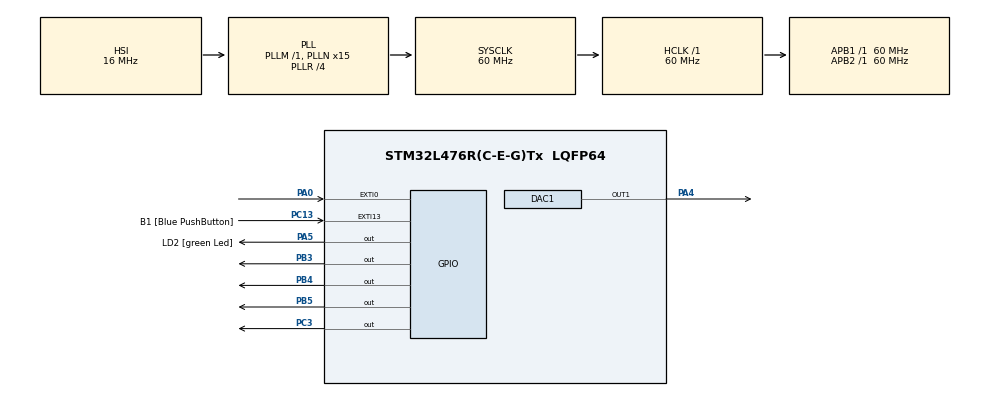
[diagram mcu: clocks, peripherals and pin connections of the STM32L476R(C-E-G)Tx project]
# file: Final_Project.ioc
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DAC1.DAC_Trigger-DAC_OUT1=DAC_TRIGGER_T6_TRGO
Dma.DAC_CH1.0.Direction=DMA_MEMORY_TO_PERIPH
Dma.DAC_CH1.0.Instance=DMA1_Channel3
Dma.DAC_CH1.0.MemDataAlignment=DMA_MDATAALIGN_BYTE
Dma.DAC_CH1.0.MemInc=DMA_MINC_ENABLE
Dma.DAC_CH1.0.Mode=DMA_NORMAL
Dma.DAC_CH1.0.PeriphDataAlignment=DMA_PDATAALIGN_BYTE
Dma.DAC_CH1.0.PeriphInc=DMA_PINC_DISABLE
Dma.DAC_CH1.0.Priority=DMA_PRIORITY_LOW
Dma.Request0=DAC_CH1
Mcu.Family=STM32L4
Mcu.Name=STM32L476R(C-E-G)Tx
Mcu.Package=LQFP64
NVIC.DMA1_Channel3_IRQn=true\:0\:0\:false\:false\:true\:false
NVIC.EXTI0_IRQn=true\:0\:0\:false\:false\:true\:true
NVIC.EXTI15_10_IRQn=true\:0\:0\:false\:false\:true\:true
NVIC.PriorityGroup=NVIC_PRIORITYGROUP_4
NVIC.TIM3_IRQn=true\:0\:0\:false\:false\:true\:true
PA0.GPIO_ModeDefaultEXTI=GPIO_MODE_IT_FALLING
PA0.Signal=GPXTI0
PA13\ (JTMS-SWDIO).GPIO_Label=TMS
PA13\ (JTMS-SWDIO).Mode=Serial_Wire
PA13\ (JTMS-SWDIO).Signal=SYS_JTMS-SWDIO
PA14\ (JTCK-SWCLK).GPIO_Label=TCK
PA14\ (JTCK-SWCLK).Mode=Serial_Wire
PA14\ (JTCK-SWCLK).Signal=SYS_JTCK-SWCLK
PA4.Signal=COMP_DAC11_group
PA5.GPIO_Label=LD2 [green Led]
PA5.GPIO_ModeDefaultOutputPP=GPIO_MODE_OUTPUT_PP
PA5.GPIO_PuPd=GPIO_NOPULL
PA5.GPIO_Speed=GPIO_SPEED_FREQ_LOW
PA5.Signal=GPIO_Output
PB3\ (JTDO-TRACESWO).Signal=GPIO_Output
PB4\ (NJTRST).Signal=GPIO_Output
PB5.Signal=GPIO_Output
PC13.GPIO_Label=B1 [Blue PushButton]
PC13.GPIO_ModeDefaultEXTI=GPIO_MODE_IT_FALLING
PC13.GPIO_PuPd=GPIO_NOPULL
PC13.Signal=GPXTI13
PC14-OSC32_IN\ (PC14).Mode=LSE-External-Oscillator
PC14-OSC32_IN\ (PC14).Signal=RCC_OSC32_IN
PC15-OSC32_OUT\ (PC15).Mode=LSE-External-Oscillator
PC15-OSC32_OUT\ (PC15).Signal=RCC_OSC32_OUT
PC3.Signal=GPIO_Output
PH0-OSC_IN\ (PH0).Signal=RCC_OSC_IN
PH1-OSC_OUT\ (PH1).Signal=RCC_OSC_OUT
ProjectManager.HeapSize=0x200
ProjectManager.StackSize=0x400
ProjectManager.TargetToolchain=SW4STM32
RCC.ADCFreq_Value=64000000
RCC.AHBFreq_Value=60000000
RCC.APB1Freq_Value=60000000
RCC.APB1TimFreq_Value=60000000
RCC.APB2Freq_Value=60000000
RCC.APB2TimFreq_Value=60000000
RCC.CortexFreq_Value=60000000
RCC.HCLKFreq_Value=60000000
RCC.HSE_VALUE=8000000
RCC.HSI_VALUE=16000000
RCC.MSI_VALUE=4000000
RCC.PLLN=15
RCC.PLLR=RCC_PLLR_DIV4
RCC.PLLSourceVirtual=RCC_PLLSOURCE_HSI
RCC.PREFETCH_ENABLE=1
RCC.SYSCLKFreq_VALUE=60000000
RCC.SYSCLKSource=RCC_SYSCLKSOURCE_PLLCLK
RCC.USBFreq_Value=64000000
RCC.VCOOutputFreq_Value=240000000
SH.COMP_DAC11_group.0=DAC1_OUT1,DAC_OUT1
TIM3.Period=999
TIM3.Prescaler=59999
TIM6.AutoReloadPreload=TIM_AUTORELOAD_PRELOAD_ENABLE
TIM6.Period=3749
TIM6.TIM_MasterOutputTrigger=TIM_TRGO_UPDATE
VP_TIM3_VS_ClockSourceINT.Mode=Internal
VP_TIM6_VS_ClockSourceINT.Mode=Enable_Timer
board=NUCLEO-L476RG

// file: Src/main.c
/**
  ******************************************************************************
  * @file           : main.c
  * @brief          : Main program body
  ******************************************************************************
  ** This notice applies to any and all portions of this file
  * that are not between comment pairs USER CODE BEGIN and
  * USER CODE END. Other portions of this file, whether
  * inserted by the user or by software development tools
  * are owned by their respective copyright owners.
  *
  * COPYRIGHT(c) 2019 STMicroelectronics
  *
  * Redistribution and use in source and binary forms, with or without modification,
  * are permitted provided that the following conditions are met:
  *   1. Redistributions of source code must retain the above copyright notice,
  *      this list of conditions and the following disclaimer.
  *   2. Redistributions in binary form must reproduce the above copyright notice,
  *      this list of conditions and the following disclaimer in the documentation
  *      and/or other materials provided with the distribution.
  *   3. Neither the name of STMicroelectronics nor the names of its contributors
  *      may be used to endorse or promote products derived from this software
  *      without specific prior written permission.
  *
  * THIS SOFTWARE IS PROVIDED BY THE COPYRIGHT HOLDERS AND CONTRIBUTORS "AS IS"
  * AND ANY EXPRESS OR IMPLIED WARRANTIES, INCLUDING, BUT NOT LIMITED TO, THE
  * IMPLIED WARRANTIES OF MERCHANTABILITY AND FITNESS FOR A PARTICULAR PURPOSE ARE
  * DISCLAIMED. IN NO EVENT SHALL THE COPYRIGHT HOLDER OR CONTRIBUTORS BE LIABLE
  * FOR ANY DIRECT, INDIRECT, INCIDENTAL, SPECIAL, EXEMPLARY, OR CONSEQUENTIAL
  * DAMAGES (INCLUDING, BUT NOT LIMITED TO, PROCUREMENT OF SUBSTITUTE GOODS OR
  * SERVICES; LOSS OF USE, DATA, OR PROFITS; OR BUSINESS INTERRUPTION) HOWEVER
  * CAUSED AND ON ANY THEORY OF LIABILITY, WHETHER IN CONTRACT, STRICT LIABILITY,
  * OR TORT (INCLUDING NEGLIGENCE OR OTHERWISE) ARISING IN ANY WAY OUT OF THE USE
  * OF THIS SOFTWARE, EVEN IF ADVISED OF THE POSSIBILITY OF SUCH DAMAGE.
  *
  ******************************************************************************
  */
#include "main.h"
#include "stm32l4xx_hal.h"

/* USER CODE BEGIN Includes */
#include "recording_3score.h"
#include "recording_2score.h"
#include "pac_man.h"
#include "count_down.h"
#include "gameover.h"
#include <stdint.h>
/* USER CODE END Includes */

DAC_HandleTypeDef hdac1;
DMA_HandleTypeDef hdma_dac_ch1;

TIM_HandleTypeDef htim3;
TIM_HandleTypeDef htim6;

/* USER CODE BEGIN PV */
/* Private variables ---------------------------------------------------------*/

/* USER CODE END PV */

void SystemClock_Config(void);
static void MX_GPIO_Init(void);
static void MX_DMA_Init(void);
static void MX_TIM6_Init(void);
static void MX_DAC1_Init(void);
static void MX_TIM3_Init(void);

/* USER CODE BEGIN PFP */
/* Private function prototypes -----------------------------------------------*/

/* USER CODE END PFP */

/* USER CODE BEGIN 0 */
extern void max7219_init();
extern void MAX7219Send(unsigned char address, unsigned char data);
#define SCAN_LIMIT	0x0B

#define DIGIT_0	1
#define DIGIT_1 2
#define DIGIT_2	3
#define DIGIT_3	4
#define DIGIT_4	5
#define DIGIT_5	6
#define DIGIT_6	7
#define DIGIT_7	8

int nScore = 0, nRemain_Time = 60;
int nMax_score = 0;
int nStart_Flag = 0;
int update_flag_time = 0, update_flag_score = 0;
int nDelay_Count_Down = 0;
int nDAC_End_Flag = 0;
//
int nRemain_Time_Array;
int nTime_Array[5] = {60, 50, 40, 40, 30};
int nLevel_Score[5] = {50, 150, 250, 400, 550};

void HAL_TIM_PeriodElapsedCallback(TIM_HandleTypeDef *htim)
{
	if (htim->Instance == TIM3) {
		nRemain_Time--;
		update_flag_time = 1;
		nDelay_Count_Down = 0;
	}
}

void HAL_GPIO_EXTI_Callback(uint16_t GPIO_Pin)
{
  if (GPIO_Pin == GPIO_PIN_13)
  {
	  nStart_Flag = 1;
	  //HAL_DAC_Stop_DMA(&hdac1, DAC_CHANNEL_1);
  }
  else if (GPIO_Pin == GPIO_PIN_0)
  {
	  if (nStart_Flag == 1) {
		  if (nRemain_Time > 15) {
			  nScore += 2;
			  HAL_DAC_Start_DMA(&hdac1, DAC_CHANNEL_1, (uint32_t *)score_2_data, NUM_ELEMENTS_2_SCORE, DAC_ALIGN_8B_R);
		  }
		  else {
			  nScore += 3;
			  HAL_DAC_Start_DMA(&hdac1, DAC_CHANNEL_1, (uint32_t *)score_3_data, NUM_ELEMENTS_3_SCORE, DAC_ALIGN_8B_R);
		  }
		  update_flag_score = 1;
	  }
  }
}
void HAL_DAC_ConvCpltCallbackCh1(DAC_HandleTypeDef* hdac)
{
	if (hdac->Instance == DAC) {
		nDAC_End_Flag = 1;
	}
}
void Delay()
{
	while(nDelay_Count_Down > 0);
}
/* USER CODE END 0 */

int main(void)
{

  /* MCU Configuration----------------------------------------------------------*/

  /* Reset of all peripherals, Initializes the Flash interface and the Systick. */
  HAL_Init();

  /* Configure the system clock */
  SystemClock_Config();

  /* Initialize all configured peripherals */
  MX_GPIO_Init();
  MX_DMA_Init();
  MX_TIM6_Init();
  MX_DAC1_Init();
  MX_TIM3_Init();
  /* USER CODE BEGIN 2 */
  HAL_TIM_Base_Start(&htim6);
  HAL_TIM_Base_Start(&htim3);
  HAL_DAC_Start(&hdac1, DAC_CHANNEL_1);
  max7219_init();
  int i;
  int nTmp;
  int nLevel = 0;
  for (i = 0; i < 8; i++) {
	  MAX7219Send(i + 1, 0);
  }
  MAX7219Send(SCAN_LIMIT, 7);
  /* USER CODE END 2 */

  /* Infinite loop */
  /* USER CODE BEGIN WHILE */
  while (1)
  {
	  //play the music
	  nDAC_End_Flag = 0;
	  HAL_DAC_Start_DMA(&hdac1, DAC_CHANNEL_1, (uint32_t *)pac_man_data_1, NUM_ELEMENTS_PAC_MAN_1, DAC_ALIGN_8B_R);
	  if (nStart_Flag == 0)
		  while (nDAC_End_Flag == 0);

	  nDAC_End_Flag = 0;
	  HAL_DAC_Start_DMA(&hdac1, DAC_CHANNEL_1, (uint32_t *)pac_man_data_2, NUM_ELEMENTS_PAC_MAN_2, DAC_ALIGN_8B_R);
	  if (nStart_Flag == 0)
		  while (nDAC_End_Flag == 0);
	  //
	  if (nStart_Flag == 0) {
  		  nScore = 0;
		  nLevel = 0;
	  }

	  if (nStart_Flag == 1)
	  {
		  //turn off the music first
		  HAL_DAC_Stop_DMA(&hdac1, DAC_CHANNEL_1);
		  //count down 3 sec
		  MAX7219Send(SCAN_LIMIT, 3);
		  MAX7219Send(DIGIT_3, 3);
		  HAL_DAC_Start_DMA(&hdac1, DAC_CHANNEL_1, (uint32_t *)count_down_data, NUM_ELEMENTS_COUNT_DOWN, DAC_ALIGN_8B_R);
		  HAL_TIM_Base_Start_IT(&htim3);
		  nDelay_Count_Down = 1;
		  Delay(1);
		  MAX7219Send(DIGIT_3, 2);
		  nDelay_Count_Down = 1;
		  Delay(1);
		  MAX7219Send(DIGIT_3, 1);
		  nDelay_Count_Down = 1;
		  Delay(1);
		  MAX7219Send(DIGIT_3, 0);
		  MAX7219Send(SCAN_LIMIT, 7);
		  //
		  update_flag_time = 1;
		  //initialize
		  nRemain_Time = nTime_Array[nLevel];
		  while (nRemain_Time >= 0) {
			  if (update_flag_time == 1) {
				  //digit3 ~ digit4 display Remain Time
				  MAX7219Send(DIGIT_4, nRemain_Time / 10);
				  MAX7219Send(DIGIT_3, nRemain_Time % 10);
			  }
			  if (update_flag_score == 1) {
				  //digit5 ~ digit7 display Score
				  nTmp = nScore;
				  MAX7219Send(DIGIT_5, nTmp % 10);
				  nTmp /= 10;
				  MAX7219Send(DIGIT_6, nTmp % 10);
				  nTmp /= 10;
				  MAX7219Send(DIGIT_7, nTmp % 10);
			  }
		  }
		  HAL_TIM_Base_Stop_IT(&htim3);
		  if ((nScore < nLevel_Score[nLevel]) | (nLevel == 4)) {
			  //clear the screen
			  for (i = 3; i < 8; i++) {
				  MAX7219Send(i + 1, 0);
			  }
			  //update max score
			  if (nScore > nMax_score){
				  nMax_score = nScore;
				  //digit0 ~ digit2 display Score
				  nTmp = nMax_score;
				  MAX7219Send(DIGIT_0, nTmp % 10);
				  nTmp /= 10;
				  MAX7219Send(DIGIT_1, nTmp % 10);
				  nTmp /= 10;
				  MAX7219Send(DIGIT_2, nTmp % 10);
			  }
			  nStart_Flag = 0;
			  //play gameover music
			  nScore = 0;
			  nDAC_End_Flag = 0;
			  HAL_DAC_Start_DMA(&hdac1, DAC_CHANNEL_1, (uint32_t *)game_over_1_data, NUM_ELEMENTS_GAME_OVER_1, DAC_ALIGN_8B_R);
			  while (nDAC_End_Flag == 0);
			  nDAC_End_Flag = 0;
			  HAL_DAC_Start_DMA(&hdac1, DAC_CHANNEL_1, (uint32_t *)game_over_2_data, NUM_ELEMENTS_GAME_OVER_2, DAC_ALIGN_8B_R);
			  while (nDAC_End_Flag == 0);
		  }
		  else {
			  nLevel++;
			  nRemain_Time = nTime_Array[nLevel];
		  }
	  }
  /* USER CODE END WHILE */

  }

}

void SystemClock_Config(void)
{

  RCC_OscInitTypeDef RCC_OscInitStruct;
  RCC_ClkInitTypeDef RCC_ClkInitStruct;

    /**Initializes the CPU, AHB and APB busses clocks
    */
  RCC_OscInitStruct.OscillatorType = RCC_OSCILLATORTYPE_HSI;
  RCC_OscInitStruct.HSIState = RCC_HSI_ON;
  RCC_OscInitStruct.HSICalibrationValue = 16;
  RCC_OscInitStruct.PLL.PLLState = RCC_PLL_ON;
  RCC_OscInitStruct.PLL.PLLSource = RCC_PLLSOURCE_HSI;
  RCC_OscInitStruct.PLL.PLLM = 1;
  RCC_OscInitStruct.PLL.PLLN = 15;
  RCC_OscInitStruct.PLL.PLLP = RCC_PLLP_DIV7;
  RCC_OscInitStruct.PLL.PLLQ = RCC_PLLQ_DIV2;
  RCC_OscInitStruct.PLL.PLLR = RCC_PLLR_DIV4;
  if (HAL_RCC_OscConfig(&RCC_OscInitStruct) != HAL_OK)
  {
    _Error_Handler(__FILE__, __LINE__);
  }

    /**Initializes the CPU, AHB and APB busses clocks
    */
  RCC_ClkInitStruct.ClockType = RCC_CLOCKTYPE_HCLK|RCC_CLOCKTYPE_SYSCLK
                              |RCC_CLOCKTYPE_PCLK1|RCC_CLOCKTYPE_PCLK2;
  RCC_ClkInitStruct.SYSCLKSource = RCC_SYSCLKSOURCE_PLLCLK;
  RCC_ClkInitStruct.AHBCLKDivider = RCC_SYSCLK_DIV1;
  RCC_ClkInitStruct.APB1CLKDivider = RCC_HCLK_DIV1;
  RCC_ClkInitStruct.APB2CLKDivider = RCC_HCLK_DIV1;

  if (HAL_RCC_ClockConfig(&RCC_ClkInitStruct, FLASH_LATENCY_3) != HAL_OK)
  {
    _Error_Handler(__FILE__, __LINE__);
  }

    /**Configure the main internal regulator output voltage
    */
  if (HAL_PWREx_ControlVoltageScaling(PWR_REGULATOR_VOLTAGE_SCALE1) != HAL_OK)
  {
    _Error_Handler(__FILE__, __LINE__);
  }

    /**Configure the Systick interrupt time
    */
  HAL_SYSTICK_Config(HAL_RCC_GetHCLKFreq()/1000);

    /**Configure the Systick
    */
  HAL_SYSTICK_CLKSourceConfig(SYSTICK_CLKSOURCE_HCLK);

  /* SysTick_IRQn interrupt configuration */
  HAL_NVIC_SetPriority(SysTick_IRQn, 0, 0);
}

/* DAC1 init function */
static void MX_DAC1_Init(void)
{

  DAC_ChannelConfTypeDef sConfig;

    /**DAC Initialization
    */
  hdac1.Instance = DAC1;
  if (HAL_DAC_Init(&hdac1) != HAL_OK)
  {
    _Error_Handler(__FILE__, __LINE__);
  }

    /**DAC channel OUT1 config
    */
  sConfig.DAC_SampleAndHold = DAC_SAMPLEANDHOLD_DISABLE;
  sConfig.DAC_Trigger = DAC_TRIGGER_T6_TRGO;
  sConfig.DAC_OutputBuffer = DAC_OUTPUTBUFFER_ENABLE;
  sConfig.DAC_ConnectOnChipPeripheral = DAC_CHIPCONNECT_DISABLE;
  sConfig.DAC_UserTrimming = DAC_TRIMMING_FACTORY;
  if (HAL_DAC_ConfigChannel(&hdac1, &sConfig, DAC_CHANNEL_1) != HAL_OK)
  {
    _Error_Handler(__FILE__, __LINE__);
  }

}

/* TIM3 init function */
static void MX_TIM3_Init(void)
{

  TIM_ClockConfigTypeDef sClockSourceConfig;
  TIM_MasterConfigTypeDef sMasterConfig;

  htim3.Instance = TIM3;
  htim3.Init.Prescaler = 59999;
  htim3.Init.CounterMode = TIM_COUNTERMODE_UP;
  htim3.Init.Period = 999;
  htim3.Init.ClockDivision = TIM_CLOCKDIVISION_DIV1;
  htim3.Init.AutoReloadPreload = TIM_AUTORELOAD_PRELOAD_DISABLE;
  if (HAL_TIM_Base_Init(&htim3) != HAL_OK)
  {
    _Error_Handler(__FILE__, __LINE__);
  }

  sClockSourceConfig.ClockSource = TIM_CLOCKSOURCE_INTERNAL;
  if (HAL_TIM_ConfigClockSource(&htim3, &sClockSourceConfig) != HAL_OK)
  {
    _Error_Handler(__FILE__, __LINE__);
  }

  sMasterConfig.MasterOutputTrigger = TIM_TRGO_RESET;
  sMasterConfig.MasterSlaveMode = TIM_MASTERSLAVEMODE_DISABLE;
  if (HAL_TIMEx_MasterConfigSynchronization(&htim3, &sMasterConfig) != HAL_OK)
  {
    _Error_Handler(__FILE__, __LINE__);
  }

}

/* TIM6 init function */
static void MX_TIM6_Init(void)
{

  TIM_MasterConfigTypeDef sMasterConfig;

  htim6.Instance = TIM6;
  htim6.Init.Prescaler = 0;
  htim6.Init.CounterMode = TIM_COUNTERMODE_UP;
  htim6.Init.Period = 3749;
  htim6.Init.AutoReloadPreload = TIM_AUTORELOAD_PRELOAD_ENABLE;
  if (HAL_TIM_Base_Init(&htim6) != HAL_OK)
  {
    _Error_Handler(__FILE__, __LINE__);
  }

  sMasterConfig.MasterOutputTrigger = TIM_TRGO_UPDATE;
  sMasterConfig.MasterSlaveMode = TIM_MASTERSLAVEMODE_DISABLE;
  if (HAL_TIMEx_MasterConfigSynchronization(&htim6, &sMasterConfig) != HAL_OK)
  {
    _Error_Handler(__FILE__, __LINE__);
  }

}

static void MX_DMA_Init(void)
{
  /* DMA controller clock enable */
  __HAL_RCC_DMA1_CLK_ENABLE();

  /* DMA interrupt init */
  /* DMA1_Channel3_IRQn interrupt configuration */
  HAL_NVIC_SetPriority(DMA1_Channel3_IRQn, 0, 0);
  HAL_NVIC_EnableIRQ(DMA1_Channel3_IRQn);

}

/** Configure pins as
        * Analog
        * Input
        * Output
        * EVENT_OUT
        * EXTI
*/
static void MX_GPIO_Init(void)
{

  GPIO_InitTypeDef GPIO_InitStruct;

  /* GPIO Ports Clock Enable */
  __HAL_RCC_GPIOC_CLK_ENABLE();
  __HAL_RCC_GPIOH_CLK_ENABLE();
  __HAL_RCC_GPIOA_CLK_ENABLE();
  __HAL_RCC_GPIOB_CLK_ENABLE();

  /*Configure GPIO pin Output Level */
  HAL_GPIO_WritePin(GPIOC, GPIO_PIN_3, GPIO_PIN_RESET);

  /*Configure GPIO pin Output Level */
  HAL_GPIO_WritePin(LD2_GPIO_Port, LD2_Pin, GPIO_PIN_RESET);

  /*Configure GPIO pin Output Level */
  HAL_GPIO_WritePin(GPIOB, GPIO_PIN_3|GPIO_PIN_4|GPIO_PIN_5, GPIO_PIN_RESET);

  /*Configure GPIO pin : B1_Pin */
  GPIO_InitStruct.Pin = B1_Pin;
  GPIO_InitStruct.Mode = GPIO_MODE_IT_FALLING;
  GPIO_InitStruct.Pull = GPIO_NOPULL;
  HAL_GPIO_Init(B1_GPIO_Port, &GPIO_InitStruct);

  /*Configure GPIO pin : PC3 */
  GPIO_InitStruct.Pin = GPIO_PIN_3;
  GPIO_InitStruct.Mode = GPIO_MODE_OUTPUT_PP;
  GPIO_InitStruct.Pull = GPIO_NOPULL;
  GPIO_InitStruct.Speed = GPIO_SPEED_FREQ_LOW;
  HAL_GPIO_Init(GPIOC, &GPIO_InitStruct);

  /*Configure GPIO pin : PA0 */
  GPIO_InitStruct.Pin = GPIO_PIN_0;
  GPIO_InitStruct.Mode = GPIO_MODE_IT_FALLING;
  GPIO_InitStruct.Pull = GPIO_NOPULL;
  HAL_GPIO_Init(GPIOA, &GPIO_InitStruct);

  /*Configure GPIO pin : LD2_Pin */
  GPIO_InitStruct.Pin = LD2_Pin;
  GPIO_InitStruct.Mode = GPIO_MODE_OUTPUT_PP;
  GPIO_InitStruct.Pull = GPIO_NOPULL;
  GPIO_InitStruct.Speed = GPIO_SPEED_FREQ_LOW;
  HAL_GPIO_Init(LD2_GPIO_Port, &GPIO_InitStruct);

  /*Configure GPIO pins : PB3 PB4 PB5 */
  GPIO_InitStruct.Pin = GPIO_PIN_3|GPIO_PIN_4|GPIO_PIN_5;
  GPIO_InitStruct.Mode = GPIO_MODE_OUTPUT_PP;
  GPIO_InitStruct.Pull = GPIO_NOPULL;
  GPIO_InitStruct.Speed = GPIO_SPEED_FREQ_LOW;
  HAL_GPIO_Init(GPIOB, &GPIO_InitStruct);

  /* EXTI interrupt init*/
  HAL_NVIC_SetPriority(EXTI0_IRQn, 0, 0);
  HAL_NVIC_EnableIRQ(EXTI0_IRQn);

  HAL_NVIC_SetPriority(EXTI15_10_IRQn, 0, 0);
  HAL_NVIC_EnableIRQ(EXTI15_10_IRQn);

}

void _Error_Handler(char *file, int line)
{
  while(1)
  {
  }
}

/************************ (C) COPYRIGHT STMicroelectronics *****END OF FILE****/
